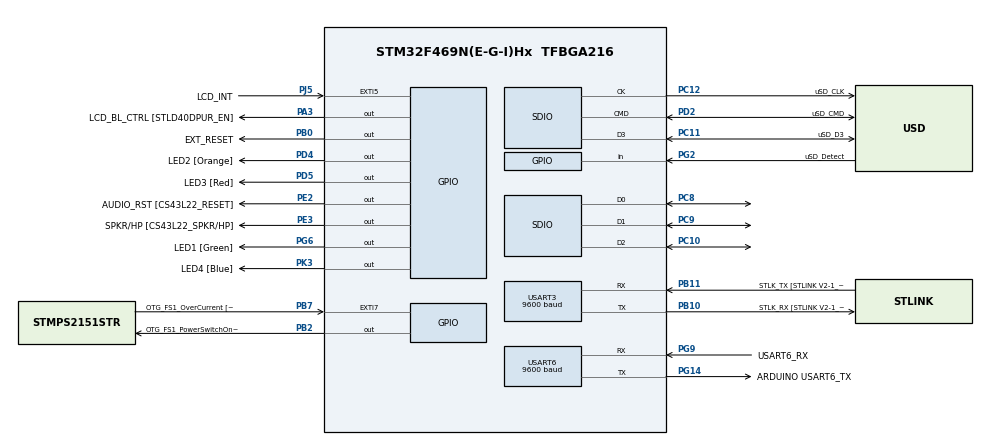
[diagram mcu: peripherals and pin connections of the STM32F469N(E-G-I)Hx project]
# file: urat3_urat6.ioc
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DSIHOST_CKN.GPIO_Label=DSI_CK_N
DSIHOST_CKN.Signal=DSIHOST_CKN
DSIHOST_CKP.GPIO_Label=DSI_CK_P
DSIHOST_CKP.Signal=DSIHOST_CKP
DSIHOST_D0N.GPIO_Label=DSI_D0_N
DSIHOST_D0N.Signal=DSIHOST_D0N
DSIHOST_D0P.GPIO_Label=DSI_D0_P
DSIHOST_D0P.Signal=DSIHOST_D0P
DSIHOST_D1N.GPIO_Label=DSI_D1_N
DSIHOST_D1N.Signal=DSIHOST_D1N
DSIHOST_D1P.GPIO_Label=DSI_D1_P
DSIHOST_D1P.Signal=DSIHOST_D1P
Dma.Request0=SDIO_RX
Dma.Request1=SDIO_TX
Dma.SDIO_RX.0.Direction=DMA_PERIPH_TO_MEMORY
Dma.SDIO_RX.0.FIFOMode=DMA_FIFOMODE_ENABLE
Dma.SDIO_RX.0.FIFOThreshold=DMA_FIFO_THRESHOLD_FULL
Dma.SDIO_RX.0.Instance=DMA2_Stream3
Dma.SDIO_RX.0.MemBurst=DMA_MBURST_INC4
Dma.SDIO_RX.0.MemDataAlignment=DMA_MDATAALIGN_WORD
Dma.SDIO_RX.0.MemInc=DMA_MINC_ENABLE
Dma.SDIO_RX.0.Mode=DMA_PFCTRL
Dma.SDIO_RX.0.PeriphBurst=DMA_PBURST_INC4
Dma.SDIO_RX.0.PeriphDataAlignment=DMA_PDATAALIGN_WORD
Dma.SDIO_RX.0.PeriphInc=DMA_PINC_DISABLE
Dma.SDIO_RX.0.Priority=DMA_PRIORITY_LOW
Dma.SDIO_TX.1.Direction=DMA_MEMORY_TO_PERIPH
Dma.SDIO_TX.1.FIFOMode=DMA_FIFOMODE_ENABLE
Dma.SDIO_TX.1.FIFOThreshold=DMA_FIFO_THRESHOLD_FULL
Dma.SDIO_TX.1.Instance=DMA2_Stream6
Dma.SDIO_TX.1.MemBurst=DMA_MBURST_INC4
Dma.SDIO_TX.1.MemDataAlignment=DMA_MDATAALIGN_WORD
Dma.SDIO_TX.1.MemInc=DMA_MINC_ENABLE
Dma.SDIO_TX.1.Mode=DMA_PFCTRL
Dma.SDIO_TX.1.PeriphBurst=DMA_PBURST_INC4
Dma.SDIO_TX.1.PeriphDataAlignment=DMA_PDATAALIGN_WORD
Dma.SDIO_TX.1.PeriphInc=DMA_PINC_DISABLE
Dma.SDIO_TX.1.Priority=DMA_PRIORITY_LOW
FATFS._CODE_PAGE=936
FATFS._USE_LFN=2
Mcu.Family=STM32F4
Mcu.Name=STM32F469N(E-G-I)Hx
Mcu.Package=TFBGA216
NVIC.DMA2_Stream3_IRQn=true\:0\:0\:false\:false\:true
NVIC.DMA2_Stream6_IRQn=true\:0\:0\:false\:false\:true
NVIC.PriorityGroup=NVIC_PRIORITYGROUP_4
NVIC.SDIO_IRQn=true\:0\:0\:false\:false\:true
NVIC.USART3_IRQn=true\:0\:0\:false\:false\:true
NVIC.USART6_IRQn=true\:0\:0\:false\:false\:true
PA0/WKUP.GPIO_Label=WAKEUP [B2]
PA0/WKUP.Signal=SYS_WKUP
PA10.GPIO_Label=USB_FS1_ID
PA10.GPIO_Mode=GPIO_MODE_AF_PP
PA10.GPIO_PuPd=GPIO_NOPULL
PA10.GPIO_Speed=GPIO_SPEED_FREQ_VERY_HIGH
PA10.Signal=USB_OTG_FS_ID
PA11.GPIO_Label=USB_FS1_N
PA11.GPIO_Mode=GPIO_MODE_AF_PP
PA11.GPIO_PuPd=GPIO_NOPULL
PA11.GPIO_Speed=GPIO_SPEED_FREQ_VERY_HIGH
PA11.Signal=USB_OTG_FS_DM
PA12.GPIO_Label=USB_FS1_P
PA12.GPIO_Mode=GPIO_MODE_AF_PP
PA12.GPIO_PuPd=GPIO_NOPULL
PA12.GPIO_Speed=GPIO_SPEED_FREQ_VERY_HIGH
PA12.Signal=USB_OTG_FS_DP
PA13.GPIO_Label=SWDIO
PA13.Signal=SYS_JTMS-SWDIO
PA14.GPIO_Label=SWCLK
PA14.Signal=SYS_JTCK-SWCLK
PA3.GPIO_Label=LCD_BL_CTRL [STLD40DPUR_EN]
PA3.Signal=GPIO_Output
PA9.GPIO_Label=VBUS_FS1
PA9.GPIO_Mode=GPIO_MODE_AF_PP
PA9.GPIO_PuPd=GPIO_NOPULL
PA9.GPIO_Speed=GPIO_SPEED_FREQ_VERY_HIGH
PA9.Signal=USB_OTG_FS_VBUS
PB0.GPIO_Label=EXT_RESET
PB0.Signal=GPIO_Output
PB10.GPIO_Label=STLK_RX [STLINK V2-1_U2_RX]
PB10.Mode=Asynchronous
PB10.Signal=USART3_TX
PB11.GPIO_Label=STLK_TX [STLINK V2-1_U2_TX]
PB11.Mode=Asynchronous
PB11.Signal=USART3_RX
PB2/BOOT1.GPIO_Label=OTG_FS1_PowerSwitchOn [STMPS2151STR_En]
PB2/BOOT1.Signal=GPIO_Output
PB3.GPIO_Label=I2S3_CK
PB3.GPIO_Mode=GPIO_MODE_AF_PP
PB3.GPIO_PuPd=GPIO_NOPULL
PB3.GPIO_Speed=GPIO_SPEED_FREQ_LOW
PB3.Signal=I2S3_CK
PB6.GPIO_Label=QSPI_BK1_NCS [N25Q128A13EF840F_S]
PB6.GPIO_Mode=GPIO_MODE_AF_PP
PB6.GPIO_PuPd=GPIO_NOPULL
PB6.GPIO_Speed=GPIO_SPEED_FREQ_VERY_HIGH
PB6.Signal=QUADSPI_BK1_NCS
PB7.GPIO_Label=OTG_FS1_OverCurrent [STMPS2151STR_FAULT]
PB7.GPIO_ModeDefaultEXTI=GPIO_MODE_IT_RISING
PB7.GPIO_PuPd=GPIO_NOPULL
PB7.Signal=GPXTI7
PB8.GPIO_Label=I2C1_SCL
PB8.GPIO_Mode=GPIO_MODE_AF_OD
PB8.GPIO_PuPdOD=GPIO_PULLUP
PB8.GPIO_Speed=GPIO_SPEED_FREQ_VERY_HIGH
PB8.Signal=I2C1_SCL
PB9.GPIO_Label=I2C1_SDA
PB9.GPIO_Mode=GPIO_MODE_AF_OD
PB9.GPIO_PuPdOD=GPIO_PULLUP
PB9.GPIO_Speed=GPIO_SPEED_FREQ_VERY_HIGH
PB9.Signal=I2C1_SDA
PC0.GPIO_Label=SDNWE [MT48LC4M32B2B5-6A_WE]
PC0.Signal=FMC_SDNWE
PC10.Mode=SD_4_bits_Wide_bus
PC10.Signal=SDIO_D2
PC11.GPIO_Label=uSD_D3
PC11.GPIO_Mode=GPIO_MODE_AF_PP
PC11.GPIO_PuPd=GPIO_NOPULL
PC11.GPIO_Speed_High_Default=GPIO_SPEED_FREQ_VERY_HIGH
PC11.Mode=SD_4_bits_Wide_bus
PC11.Signal=SDIO_D3
PC12.GPIO_Label=uSD_CLK
PC12.GPIO_Mode=GPIO_MODE_AF_PP
PC12.GPIO_PuPd=GPIO_NOPULL
PC12.GPIO_Speed_High_Default=GPIO_SPEED_FREQ_VERY_HIGH
PC12.Mode=SD_4_bits_Wide_bus
PC12.Signal=SDIO_CK
PC14/OSC32_IN.Signal=RCC_OSC32_IN
PC15/OSC32_OUT.Signal=RCC_OSC32_OUT
PC8.Mode=SD_4_bits_Wide_bus
PC8.Signal=SDIO_D0
PC9.Mode=SD_4_bits_Wide_bus
PC9.Signal=SDIO_D1
PD0.GPIO_Label=D2
PD0.GPIO_Mode=GPIO_MODE_AF_PP
PD0.GPIO_PuPd=GPIO_NOPULL
PD0.GPIO_Speed_High_Default=GPIO_SPEED_FREQ_VERY_HIGH
PD0.Signal=FMC_D2_DA2
PD1.GPIO_Label=D3
PD1.GPIO_Mode=GPIO_MODE_AF_PP
PD1.GPIO_PuPd=GPIO_NOPULL
PD1.GPIO_Speed_High_Default=GPIO_SPEED_FREQ_VERY_HIGH
PD1.Signal=FMC_D3_DA3
PD10.GPIO_Label=D15
PD10.Signal=FMC_D15_DA15
PD13.GPIO_Label=MIC_CK [MP34DT01TR_CLK]
PD13.Signal=S_TIM4_CH2
PD14.GPIO_Label=D0
PD14.Signal=FMC_D0_DA0
PD15.GPIO_Label=D1
PD15.Signal=FMC_D1_DA1
PD2.GPIO_Label=uSD_CMD
PD2.GPIO_Mode=GPIO_MODE_AF_PP
PD2.GPIO_PuPd=GPIO_NOPULL
PD2.GPIO_Speed_High_Default=GPIO_SPEED_FREQ_VERY_HIGH
PD2.Mode=SD_4_bits_Wide_bus
PD2.Signal=SDIO_CMD
PD4.GPIO_Label=LED2 [Orange]
PD4.GPIO_ModeDefaultOutputPP=GPIO_MODE_OUTPUT_OD
PD4.GPIO_PuPd=GPIO_NOPULL
PD4.GPIO_Speed=GPIO_SPEED_FREQ_LOW
PD4.Signal=GPIO_Output
PD5.GPIO_Label=LED3 [Red]
PD5.GPIO_ModeDefaultOutputPP=GPIO_MODE_OUTPUT_OD
PD5.GPIO_PuPd=GPIO_NOPULL
PD5.GPIO_Speed=GPIO_SPEED_FREQ_LOW
PD5.Signal=GPIO_Output
PD6.GPIO_Label=MIC_DATA [MP34DT01TR_DOUT]
PD6.GPIO_Mode=GPIO_MODE_AF_PP
PD6.GPIO_PuPd=GPIO_NOPULL
PD6.GPIO_Speed=GPIO_SPEED_FREQ_LOW
PD6.Signal=SAI1_SD_A
PD8.GPIO_Label=D13
PD8.Signal=FMC_D13_DA13
PD9.GPIO_Label=D14
PD9.Signal=FMC_D14_DA14
PE0.GPIO_Label=FMC_NBL0 [ MT48LC4M32B2B5-6A_DQM0]
PE0.GPIO_Mode=GPIO_MODE_AF_PP
PE0.GPIO_PuPd=GPIO_NOPULL
PE0.GPIO_Speed_High_Default=GPIO_SPEED_FREQ_VERY_HIGH
PE0.Signal=FMC_NBL0
PE1.GPIO_Label=FMC_NBL1 [ MT48LC4M32B2B5-6A_DQM1]
PE1.GPIO_Mode=GPIO_MODE_AF_PP
PE1.GPIO_PuPd=GPIO_NOPULL
PE1.GPIO_Speed_High_Default=GPIO_SPEED_FREQ_VERY_HIGH
PE1.Signal=FMC_NBL1
PE10.GPIO_Label=D7
PE10.Signal=FMC_D7_DA7
PE11.GPIO_Label=D8
PE11.Signal=FMC_D8_DA8
PE12.GPIO_Label=D9
PE12.Signal=FMC_D9_DA9
PE13.GPIO_Label=D10
PE13.Signal=FMC_D10_DA10
PE14.GPIO_Label=D11
PE14.Signal=FMC_D11_DA11
PE15.GPIO_Label=D12
PE15.Signal=FMC_D12_DA12
PE2.GPIO_Label=AUDIO_RST [CS43L22_RESET]
PE2.GPIO_ModeDefaultOutputPP=GPIO_MODE_OUTPUT_PP
PE2.GPIO_PuPd=GPIO_NOPULL
PE2.GPIO_Speed=GPIO_SPEED_FREQ_LOW
PE2.Signal=GPIO_Output
PE3.GPIO_Label=SPKR/HP [CS43L22_SPKR/HP]
PE3.GPIO_ModeDefaultOutputPP=GPIO_MODE_OUTPUT_PP
PE3.GPIO_PuPd=GPIO_NOPULL
PE3.GPIO_Speed=GPIO_SPEED_FREQ_LOW
PE3.Signal=GPIO_Output
PE4.GPIO_Label=SAI1_FSA [CS43L22_LRCK]
PE4.GPIO_Mode=GPIO_MODE_AF_PP
PE4.GPIO_PuPd=GPIO_NOPULL
PE4.GPIO_Speed=GPIO_SPEED_FREQ_LOW
PE4.Signal=SAI1_FS_A
PE5.GPIO_Label=SAI1_SCKA [CS43L22_CLK]
PE5.GPIO_Mode=GPIO_MODE_AF_PP
PE5.GPIO_PuPd=GPIO_NOPULL
PE5.GPIO_Speed=GPIO_SPEED_FREQ_LOW
PE5.Signal=SAI1_SCK_A
PE7.GPIO_Label=D4
PE7.Signal=FMC_D4_DA4
PE8.GPIO_Label=D5
PE8.Signal=FMC_D5_DA5
PE9.GPIO_Label=D6
PE9.Signal=FMC_D6_DA6
PF0.GPIO_Label=A0
PF0.GPIO_Mode=GPIO_MODE_AF_PP
PF0.GPIO_PuPd=GPIO_NOPULL
PF0.GPIO_Speed_High_Default=GPIO_SPEED_FREQ_VERY_HIGH
PF0.Signal=FMC_A0
PF1.GPIO_Label=A1
PF1.GPIO_Mode=GPIO_MODE_AF_PP
PF1.GPIO_PuPd=GPIO_NOPULL
PF1.GPIO_Speed_High_Default=GPIO_SPEED_FREQ_VERY_HIGH
PF1.Signal=FMC_A1
PF10.GPIO_Label=QSPI_CLK [N25Q128A13EF840F_C]
PF10.Signal=QUADSPI_CLK
PF11.GPIO_Label=SDNMT48LC4M32B2B5-6A_RAS]RAS [
PF11.Signal=FMC_SDNRAS
PF12.GPIO_Label=A6
PF12.Signal=FMC_A6
PF13.GPIO_Label=A7
PF13.Signal=FMC_A7
PF14.GPIO_Label=A8
PF14.Signal=FMC_A8
PF15.GPIO_Label=A9
PF15.Signal=FMC_A9
PF2.GPIO_Label=A2
PF2.GPIO_Mode=GPIO_MODE_AF_PP
PF2.GPIO_PuPd=GPIO_NOPULL
PF2.GPIO_Speed_High_Default=GPIO_SPEED_FREQ_VERY_HIGH
PF2.Signal=FMC_A2
PF3.GPIO_Label=A3
PF3.GPIO_Mode=GPIO_MODE_AF_PP
PF3.GPIO_PuPd=GPIO_NOPULL
PF3.GPIO_Speed_High_Default=GPIO_SPEED_FREQ_VERY_HIGH
PF3.Signal=FMC_A3
PF4.GPIO_Label=A4
PF4.GPIO_Mode=GPIO_MODE_AF_PP
PF4.GPIO_PuPd=GPIO_NOPULL
PF4.GPIO_Speed_High_Default=GPIO_SPEED_FREQ_VERY_HIGH
PF4.Signal=FMC_A4
PF5.GPIO_Label=A5
PF5.Signal=FMC_A5
PF6.GPIO_Label=QSPI_BK1_IO3 [N25Q128A13EF840F_DQ3]
PF6.Signal=QUADSPI_BK1_IO3
PF7.GPIO_Label=QSPI_BK1_IO2 [N25Q128A13EF840F_DQ2]
PF7.Signal=QUADSPI_BK1_IO2
PF8.GPIO_Label=QSPI_BK1_IO0 [N25Q128A13EF840F_DQ0]
PF8.Signal=QUADSPI_BK1_IO0
PF9.GPIO_Label=QSPI_BK1_IO1 [N25Q128A13EF840F_DQ1]
PF9.Signal=QUADSPI_BK1_IO1
PG0.GPIO_Label=A10
PG0.Signal=FMC_A10
PG1.GPIO_Label=A11
PG1.Signal=FMC_A11
PG14.GPIO_Label=ARDUINO USART6_TX
PG14.GPIO_Mode=GPIO_MODE_AF_PP
PG14.GPIO_PuPd=GPIO_NOPULL
PG14.GPIO_Speed=GPIO_SPEED_FREQ_VERY_HIGH
PG14.Mode=Asynchronous
PG14.Signal=USART6_TX
PG15.GPIO_Label=SDNCAS [MT48LC4M32B2B5-6A_CAS]
PG15.GPIO_Mode=GPIO_MODE_AF_PP
PG15.GPIO_PuPd=GPIO_NOPULL
PG15.GPIO_Speed_High_Default=GPIO_SPEED_FREQ_VERY_HIGH
PG15.Signal=FMC_SDNCAS
PG2.GPIO_Label=uSD_Detect
PG2.Signal=GPIO_Input
PG4.Signal=FMC_A14_BA0
PG5.Signal=FMC_A15_BA1
PG6.GPIO_Label=LED1 [Green]
PG6.GPIO_ModeDefaultOutputPP=GPIO_MODE_OUTPUT_OD
PG6.GPIO_PuPd=GPIO_NOPULL
PG6.GPIO_Speed=GPIO_SPEED_FREQ_LOW
PG6.Signal=GPIO_Output
PG7.GPIO_Label=SAI1_MCLKA [CS43L22_MCLK]
PG7.GPIO_Mode=GPIO_MODE_AF_PP
PG7.GPIO_PuPd=GPIO_NOPULL
PG7.GPIO_Speed=GPIO_SPEED_FREQ_LOW
PG7.Signal=SAI1_MCLK_A
PG8.Signal=FMC_SDCLK
PG9.GPIO_Label=USART6_RX
PG9.GPIO_Mode=GPIO_MODE_AF_PP
PG9.GPIO_PuPd=GPIO_NOPULL
PG9.GPIO_Speed=GPIO_SPEED_FREQ_VERY_HIGH
PG9.Mode=Asynchronous
PG9.Signal=USART6_RX
PH0/OSC_IN.Signal=RCC_OSC_IN
PH1/OSC_OUT.Signal=RCC_OSC_OUT
PH10.GPIO_Label=D18
PH10.Signal=FMC_D18
PH11.GPIO_Label=D19
PH11.Signal=FMC_D19
PH12.GPIO_Label=D20
PH12.Signal=FMC_D20
PH13.GPIO_Label=D21
PH13.GPIO_Mode=GPIO_MODE_AF_PP
PH13.GPIO_PuPd=GPIO_NOPULL
PH13.GPIO_Speed_High_Default=GPIO_SPEED_FREQ_VERY_HIGH
PH13.Signal=FMC_D21
PH14.GPIO_Label=D22
PH14.GPIO_Mode=GPIO_MODE_AF_PP
PH14.GPIO_PuPd=GPIO_NOPULL
PH14.GPIO_Speed_High_Default=GPIO_SPEED_FREQ_VERY_HIGH
PH14.Signal=FMC_D22
PH15.GPIO_Label=D23
PH15.GPIO_Mode=GPIO_MODE_AF_PP
PH15.GPIO_PuPd=GPIO_NOPULL
PH15.GPIO_Speed_High_Default=GPIO_SPEED_FREQ_VERY_HIGH
PH15.Signal=FMC_D23
PH2.GPIO_Label=SDCKE0 [MT48LC4M32B2B5-6A_CKE]
PH2.Signal=FMC_SDCKE0
PH3.GPIO_Label=SDNE0 [MT48LC4M32B2B5-6A_CS]
PH3.GPIO_Mode=GPIO_MODE_AF_PP
PH3.GPIO_PuPd=GPIO_NOPULL
PH3.GPIO_Speed_High_Default=GPIO_SPEED_FREQ_VERY_HIGH
PH3.Signal=FMC_SDNE0
PH4.GPIO_Label=I2C2_SCL [CS43L22_SCL]
PH4.GPIO_Mode=GPIO_MODE_AF_OD
PH4.GPIO_PuPdOD=GPIO_PULLUP
PH4.GPIO_Speed=GPIO_SPEED_FREQ_VERY_HIGH
PH4.Signal=I2C2_SCL
PH5.GPIO_Label=I2C2_SDA [CS43L22_SDA]
PH5.GPIO_Mode=GPIO_MODE_AF_OD
PH5.GPIO_PuPdOD=GPIO_PULLUP
PH5.GPIO_Speed=GPIO_SPEED_FREQ_VERY_HIGH
PH5.Signal=I2C2_SDA
PH8.GPIO_Label=D16
PH8.Signal=FMC_D16
PH9.GPIO_Label=D17
PH9.Signal=FMC_D17
PI0.GPIO_Label=D24
PI0.GPIO_Mode=GPIO_MODE_AF_PP
PI0.GPIO_PuPd=GPIO_NOPULL
PI0.GPIO_Speed_High_Default=GPIO_SPEED_FREQ_VERY_HIGH
PI0.Signal=FMC_D24
PI1.GPIO_Label=D25
PI1.GPIO_Mode=GPIO_MODE_AF_PP
PI1.GPIO_PuPd=GPIO_NOPULL
PI1.GPIO_Speed_High_Default=GPIO_SPEED_FREQ_VERY_HIGH
PI1.Signal=FMC_D25
PI10.GPIO_Label=D31
PI10.GPIO_Mode=GPIO_MODE_AF_PP
PI10.GPIO_PuPd=GPIO_NOPULL
PI10.GPIO_Speed_High_Default=GPIO_SPEED_FREQ_VERY_HIGH
PI10.Signal=FMC_D31
PI2.GPIO_Label=D26
PI2.GPIO_Mode=GPIO_MODE_AF_PP
PI2.GPIO_PuPd=GPIO_NOPULL
PI2.GPIO_Speed_High_Default=GPIO_SPEED_FREQ_VERY_HIGH
PI2.Signal=FMC_D26
PI3.GPIO_Label=D27
PI3.GPIO_Mode=GPIO_MODE_AF_PP
PI3.GPIO_PuPd=GPIO_NOPULL
PI3.GPIO_Speed_High_Default=GPIO_SPEED_FREQ_VERY_HIGH
PI3.Signal=FMC_D27
PI4.GPIO_Label=FMC_NBL2 [MT48LC4M32B2B5-6A_DQM2]
PI4.GPIO_Mode=GPIO_MODE_AF_PP
PI4.GPIO_PuPd=GPIO_NOPULL
PI4.GPIO_Speed_High_Default=GPIO_SPEED_FREQ_VERY_HIGH
PI4.Signal=FMC_NBL2
PI5.GPIO_Label=FMC_NBL3 [MT48LC4M32B2B5-6A_DQM3]
PI5.GPIO_Mode=GPIO_MODE_AF_PP
PI5.GPIO_PuPd=GPIO_NOPULL
PI5.GPIO_Speed_High_Default=GPIO_SPEED_FREQ_VERY_HIGH
PI5.Signal=FMC_NBL3
PI6.GPIO_Label=D28
PI6.GPIO_Mode=GPIO_MODE_AF_PP
PI6.GPIO_PuPd=GPIO_NOPULL
PI6.GPIO_Speed_High_Default=GPIO_SPEED_FREQ_VERY_HIGH
PI6.Signal=FMC_D28
PI7.GPIO_Label=D29
PI7.GPIO_Mode=GPIO_MODE_AF_PP
PI7.GPIO_PuPd=GPIO_NOPULL
PI7.GPIO_Speed_High_Default=GPIO_SPEED_FREQ_VERY_HIGH
PI7.Signal=FMC_D29
PI9.GPIO_Label=D30
PI9.GPIO_Mode=GPIO_MODE_AF_PP
PI9.GPIO_PuPd=GPIO_NOPULL
PI9.GPIO_Speed_High_Default=GPIO_SPEED_FREQ_VERY_HIGH
PI9.Signal=FMC_D30
PJ2.GPIO_Label=DSI_TE
PJ2.Signal=DSIHOST_TE
PJ5.GPIO_Label=LCD_INT
PJ5.Signal=GPXTI5
PK3.GPIO_Label=LED4 [Blue]
PK3.GPIO_ModeDefaultOutputPP=GPIO_MODE_OUTPUT_OD
PK3.GPIO_PuPd=GPIO_NOPULL
PK3.GPIO_Speed=GPIO_SPEED_FREQ_LOW
PK3.Signal=GPIO_Output
ProjectManager.HeapSize=0x200
ProjectManager.StackSize=0x1000
ProjectManager.TargetToolchain=MDK-ARM V5
RCC.CortexFreq_Value=16000000
RCC.VCOOutputFreq_Value=192000000
SH.FMC_A0.0=FMC_A0
SH.FMC_A1.0=FMC_A1
SH.FMC_A10.0=FMC_A10
SH.FMC_A11.0=FMC_A11
SH.FMC_A14_BA0.0=FMC_BA0
SH.FMC_A15_BA1.0=FMC_BA1
SH.FMC_A2.0=FMC_A2
SH.FMC_A3.0=FMC_A3
SH.FMC_A4.0=FMC_A4
SH.FMC_A5.0=FMC_A5
SH.FMC_A6.0=FMC_A6
SH.FMC_A7.0=FMC_A7
SH.FMC_A8.0=FMC_A8
SH.FMC_A9.0=FMC_A9
SH.FMC_D0_DA0.0=FMC_D0
SH.FMC_D10_DA10.0=FMC_D10
SH.FMC_D11_DA11.0=FMC_D11
SH.FMC_D12_DA12.0=FMC_D12
SH.FMC_D13_DA13.0=FMC_D13
SH.FMC_D14_DA14.0=FMC_D14
SH.FMC_D15_DA15.0=FMC_D15
SH.FMC_D16.0=FMC_D16
SH.FMC_D17.0=FMC_D17
SH.FMC_D18.0=FMC_D18
SH.FMC_D19.0=FMC_D19
SH.FMC_D1_DA1.0=FMC_D1
SH.FMC_D20.0=FMC_D20
SH.FMC_D21.0=FMC_D21
SH.FMC_D22.0=FMC_D22
SH.FMC_D23.0=FMC_D23
SH.FMC_D24.0=FMC_D24
SH.FMC_D25.0=FMC_D25
SH.FMC_D26.0=FMC_D26
SH.FMC_D27.0=FMC_D27
SH.FMC_D28.0=FMC_D28
SH.FMC_D29.0=FMC_D29
SH.FMC_D2_DA2.0=FMC_D2
SH.FMC_D30.0=FMC_D30
SH.FMC_D31.0=FMC_D31
SH.FMC_D3_DA3.0=FMC_D3
SH.FMC_D4_DA4.0=FMC_D4
SH.FMC_D5_DA5.0=FMC_D5
SH.FMC_D6_DA6.0=FMC_D6
SH.FMC_D7_DA7.0=FMC_D7
SH.FMC_D8_DA8.0=FMC_D8
SH.FMC_D9_DA9.0=FMC_D9
SH.FMC_NBL0.0=FMC_NBL0
SH.FMC_NBL1.0=FMC_NBL1
SH.FMC_NBL2.0=FMC_NBL2
SH.FMC_NBL3.0=FMC_NBL3
SH.FMC_SDCLK.0=FMC_SDCLK
SH.FMC_SDNCAS.0=FMC_SDNCAS
SH.FMC_SDNRAS.0=FMC_SDNRAS
SH.FMC_SDNWE.0=FMC_SDNWE
SH.S_TIM4_CH2.0=TIM4_CH2
USART3.BaudRate=9600
USART3.VirtualMode=VM_ASYNC
USART6.BaudRate=9600
USART6.VirtualMode=VM_ASYNC
VP_FATFS_VS_SDIO.Mode=SDIO
board=STM32F469I-DISCO

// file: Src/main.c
/**
  ******************************************************************************
  * File Name          : main.c
  * Description        : Main program body
  ******************************************************************************
  *
  * Copyright (c) 2017 STMicroelectronics International N.V.
  * All rights reserved.
  *
  * Redistribution and use in source and binary forms, with or without
  * modification, are permitted, provided that the following conditions are met:
  *
  * 1. Redistribution of source code must retain the above copyright notice,
  *    this list of conditions and the following disclaimer.
  * 2. Redistributions in binary form must reproduce the above copyright notice,
  *    this list of conditions and the following disclaimer in the documentation
  *    and/or other materials provided with the distribution.
  * 3. Neither the name of STMicroelectronics nor the names of other
  *    contributors to this software may be used to endorse or promote products
  *    derived from this software without specific written permission.
  * 4. This software, including modifications and/or derivative works of this
  *    software, must execute solely and exclusively on microcontroller or
  *    microprocessor devices manufactured by or for STMicroelectronics.
  * 5. Redistribution and use of this software other than as permitted under
  *    this license is void and will automatically terminate your rights under
  *    this license.
  *
  * THIS SOFTWARE IS PROVIDED BY STMICROELECTRONICS AND CONTRIBUTORS "AS IS"
  * AND ANY EXPRESS, IMPLIED OR STATUTORY WARRANTIES, INCLUDING, BUT NOT
  * LIMITED TO, THE IMPLIED WARRANTIES OF MERCHANTABILITY, FITNESS FOR A
  * PARTICULAR PURPOSE AND NON-INFRINGEMENT OF THIRD PARTY INTELLECTUAL PROPERTY
  * RIGHTS ARE DISCLAIMED TO THE FULLEST EXTENT PERMITTED BY LAW. IN NO EVENT
  * SHALL STMICROELECTRONICS OR CONTRIBUTORS BE LIABLE FOR ANY DIRECT, INDIRECT,
  * INCIDENTAL, SPECIAL, EXEMPLARY, OR CONSEQUENTIAL DAMAGES (INCLUDING, BUT NOT
  * LIMITED TO, PROCUREMENT OF SUBSTITUTE GOODS OR SERVICES; LOSS OF USE, DATA,
  * OR PROFITS; OR BUSINESS INTERRUPTION) HOWEVER CAUSED AND ON ANY THEORY OF
  * LIABILITY, WHETHER IN CONTRACT, STRICT LIABILITY, OR TORT (INCLUDING
  * NEGLIGENCE OR OTHERWISE) ARISING IN ANY WAY OUT OF THE USE OF THIS SOFTWARE,
  * EVEN IF ADVISED OF THE POSSIBILITY OF SUCH DAMAGE.
  *
  ******************************************************************************
  */
#include "main.h"
#include "stm32f4xx_hal.h"
#include "dma.h"
#include "fatfs.h"
#include "sdio.h"
#include "usart.h"
#include "gpio.h"

/* USER CODE BEGIN PV */
/* Private variables ---------------------------------------------------------*/
FATFS fs;                 // Work area (file system object) for logical drive�ļ�ϵͳ����
FIL fil;                  // file objects�ļ�����

uint32_t byteswritten;                /* File write counts */
uint32_t bytesread;                   /* File read counts */
uint8_t wtext[] = "This is STM32 working with FatFs"; /* File write buffer */
uint8_t rtext[100];                     /* File read buffers */
char filename[] = "STM32cube.txt";
/* USER CODE END PV */

void SystemClock_Config(void);
void Error_Handler(void);

/* USER CODE BEGIN PFP */
/* Private function prototypes -----------------------------------------------*/

/* USER CODE END PFP */

int main(void)
{

  /* MCU Configuration----------------------------------------------------------*/

  /* Reset of all peripherals, Initializes the Flash interface and the Systick. */
  HAL_Init();

  /* Configure the system clock */
  SystemClock_Config();

  /* Initialize all configured peripherals */
  MX_GPIO_Init();
  MX_DMA_Init();
  MX_USART3_UART_Init();
  MX_USART6_UART_Init();
  MX_SDIO_SD_Init();
  MX_FATFS_Init();

  /* USER CODE BEGIN 2 */
	printf("\r\n ****** FatFs Example ******\r\n\r\n");

    /*##-1- Register the file system object to the FatFs module ##############*/
    retSD = f_mount(&fs, "", 0);
    if(retSD)
    {
        printf(" mount error : %d \r\n",retSD);
        Error_Handler();
    }
    else
        printf(" mount sucess!!! \r\n");

    /*##-2- Create and Open new text file objects with write access ######*/
    retSD = f_open(&fil, filename, FA_CREATE_ALWAYS | FA_WRITE);
    if(retSD)
        printf(" open file error : %d\r\n",retSD);
    else
        printf(" open file sucess!!! \r\n");

    /*##-3- Write data to the text files ###############################*/
    retSD = f_write(&fil, wtext, sizeof(wtext), (void *)&byteswritten);
    if(retSD)
        printf(" write file error : %d\r\n",retSD);
    else
    {
        printf(" write file sucess!!! \r\n");
        printf(" write Data : %s\r\n",wtext);
    }

    /*##-4- Close the open text files ################################*/
    retSD = f_close(&fil);
    if(retSD)
        printf(" close error : %d\r\n",retSD);
    else
        printf(" close sucess!!! \r\n");

    /*##-5- Open the text files object with read access ##############*/
    retSD = f_open(&fil, filename, FA_READ);
    if(retSD)
        printf(" open file error : %d\r\n",retSD);
    else
        printf(" open file sucess!!! \r\n");

    /*##-6- Read data from the text files ##########################*/
    retSD = f_read(&fil, rtext, sizeof(rtext), (UINT*)&bytesread);
    if(retSD)
        printf(" read error!!! %d\r\n",retSD);
    else
    {
        printf(" read sucess!!! \r\n");
        printf(" read Data : %s\r\n",rtext);
    }

    /*##-7- Close the open text files ############################*/
    retSD = f_close(&fil);
    if(retSD)
        printf(" close error!!! %d\r\n",retSD);
    else
        printf(" close sucess!!! \r\n");

    /*##-8- Compare read data with the expected data ############*/
    if(bytesread == byteswritten)
    {
        printf(" FatFs is working well!!!\r\n");
    }

  /* USER CODE END 2 */

  /* Infinite loop */
  while (1)
  {

  }

}

/** System Clock Configuration
*/
void SystemClock_Config(void)
{

  RCC_OscInitTypeDef RCC_OscInitStruct;
  RCC_ClkInitTypeDef RCC_ClkInitStruct;
  RCC_PeriphCLKInitTypeDef PeriphClkInitStruct;

    /**Configure the main internal regulator output voltage
    */
  __HAL_RCC_PWR_CLK_ENABLE();

  __HAL_PWR_VOLTAGESCALING_CONFIG(PWR_REGULATOR_VOLTAGE_SCALE3);

    /**Initializes the CPU, AHB and APB busses clocks
    */
  RCC_OscInitStruct.OscillatorType = RCC_OSCILLATORTYPE_HSI;
  RCC_OscInitStruct.HSIState = RCC_HSI_ON;
  RCC_OscInitStruct.HSICalibrationValue = 16;
  RCC_OscInitStruct.PLL.PLLState = RCC_PLL_ON;
  RCC_OscInitStruct.PLL.PLLSource = RCC_PLLSOURCE_HSI;
  RCC_OscInitStruct.PLL.PLLM = 16;
  RCC_OscInitStruct.PLL.PLLN = 192;
  RCC_OscInitStruct.PLL.PLLP = RCC_PLLP_DIV2;
  RCC_OscInitStruct.PLL.PLLQ = 4;
  RCC_OscInitStruct.PLL.PLLR = 2;
  if (HAL_RCC_OscConfig(&RCC_OscInitStruct) != HAL_OK)
  {
    Error_Handler();
  }

    /**Initializes the CPU, AHB and APB busses clocks
    */
  RCC_ClkInitStruct.ClockType = RCC_CLOCKTYPE_HCLK|RCC_CLOCKTYPE_SYSCLK
                              |RCC_CLOCKTYPE_PCLK1|RCC_CLOCKTYPE_PCLK2;
  RCC_ClkInitStruct.SYSCLKSource = RCC_SYSCLKSOURCE_HSI;
  RCC_ClkInitStruct.AHBCLKDivider = RCC_SYSCLK_DIV1;
  RCC_ClkInitStruct.APB1CLKDivider = RCC_HCLK_DIV1;
  RCC_ClkInitStruct.APB2CLKDivider = RCC_HCLK_DIV1;

  if (HAL_RCC_ClockConfig(&RCC_ClkInitStruct, FLASH_LATENCY_0) != HAL_OK)
  {
    Error_Handler();
  }

  PeriphClkInitStruct.PeriphClockSelection = RCC_PERIPHCLK_SDIO|RCC_PERIPHCLK_CLK48;
  PeriphClkInitStruct.Clk48ClockSelection = RCC_CLK48CLKSOURCE_PLLQ;
  PeriphClkInitStruct.SdioClockSelection = RCC_SDIOCLKSOURCE_CLK48;
  if (HAL_RCCEx_PeriphCLKConfig(&PeriphClkInitStruct) != HAL_OK)
  {
    Error_Handler();
  }

    /**Configure the Systick interrupt time
    */
  HAL_SYSTICK_Config(HAL_RCC_GetHCLKFreq()/1000);

    /**Configure the Systick
    */
  HAL_SYSTICK_CLKSourceConfig(SYSTICK_CLKSOURCE_HCLK);

  /* SysTick_IRQn interrupt configuration */
  HAL_NVIC_SetPriority(SysTick_IRQn, 0, 0);
}

void Error_Handler(void)
{
  /* USER CODE BEGIN Error_Handler */
	printf("something wrong ....\r\n");
  /* User can add his own implementation to report the HAL error return state */
  while(1)
  {
  }
  /* USER CODE END Error_Handler */
}

/************************ (C) COPYRIGHT STMicroelectronics *****END OF FILE****/
